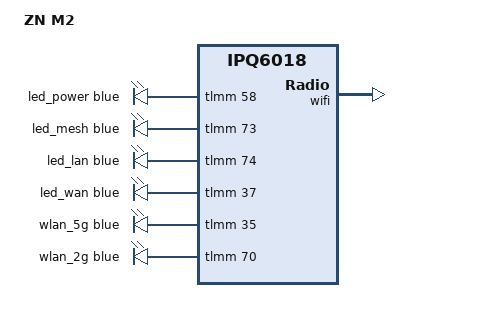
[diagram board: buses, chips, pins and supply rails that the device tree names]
// SPDX-License-Identifier: GPL-2.0-or-later OR MIT

/dts-v1/;

#include "ipq6000-cmiot.dtsi"

#include <dt-bindings/gpio/gpio.h>
#include <dt-bindings/input/input.h>
#include <dt-bindings/leds/common.h>

/ {
	model = "ZN M2";
	compatible = "zn,m2", "qcom,ipq6018";

	aliases {
		led-boot = &led_power;
		led-failsafe = &led_power;
		led-running = &led_power;
		led-upgrade = &led_power;
	};

	leds {
		compatible = "gpio-leds";

		led_power: power {
			color = <LED_COLOR_ID_BLUE>;
			function = LED_FUNCTION_POWER;
			gpios = <&tlmm 58 GPIO_ACTIVE_HIGH>;
		};

		led_mesh: mesh {
			color = <LED_COLOR_ID_BLUE>;
			function = LED_FUNCTION_WAN_ONLINE;
			gpios = <&tlmm 73 GPIO_ACTIVE_HIGH>;
		};

		led_lan: lan {
			color = <LED_COLOR_ID_BLUE>;
			function = LED_FUNCTION_LAN;
			gpios = <&tlmm 74 GPIO_ACTIVE_HIGH>;
		};

		led_wan: wan {
			color = <LED_COLOR_ID_BLUE>;
			function = LED_FUNCTION_WAN;
			gpios = <&tlmm 37 GPIO_ACTIVE_HIGH>;
		};

		wlan_5g: wlan-5g {
			color = <LED_COLOR_ID_BLUE>;
			function = LED_FUNCTION_WLAN_5GHZ;
			gpios = <&tlmm 35 GPIO_ACTIVE_HIGH>;
		};

		wlan_2g: wlan-2g {
			color = <LED_COLOR_ID_BLUE>;
			function = LED_FUNCTION_WLAN_2GHZ;
			gpios = <&tlmm 70 GPIO_ACTIVE_HIGH>;
		};
	};
};

&wifi {
	qcom,calibration-variant = "ZN-M2";
};
